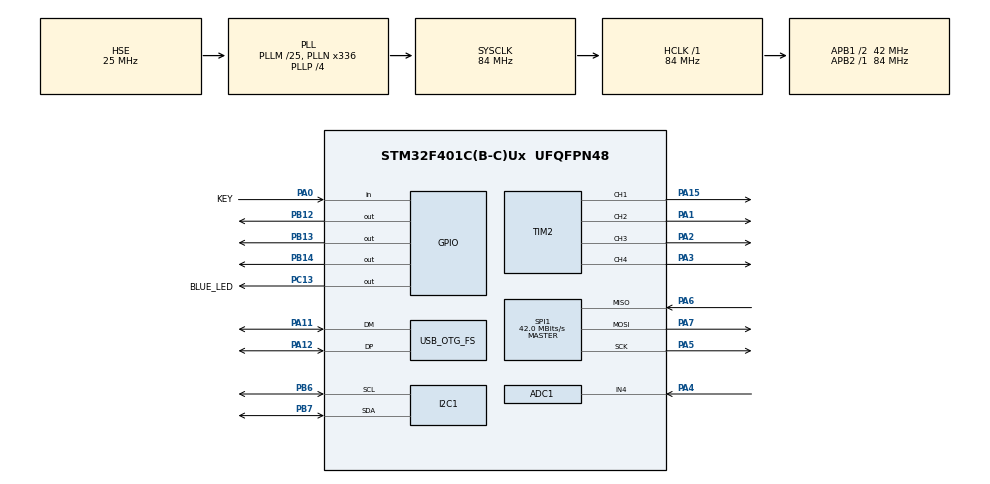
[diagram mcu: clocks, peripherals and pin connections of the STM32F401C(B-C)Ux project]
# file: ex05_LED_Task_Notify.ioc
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ADC1.Channel-2\#ChannelRegularConversion=ADC_CHANNEL_4
ADC1.NbrOfConversionFlag=1
ADC1.Rank-2\#ChannelRegularConversion=1
ADC1.SamplingTime-2\#ChannelRegularConversion=ADC_SAMPLETIME_3CYCLES
ADC1.master=1
Mcu.Family=STM32F4
Mcu.Name=STM32F401C(B-C)Ux
Mcu.Package=UFQFPN48
NVIC.OTG_FS_IRQn=true\:0\:0\:true\:false\:true\:false\:true\:true
NVIC.PriorityGroup=NVIC_PRIORITYGROUP_4
NVIC.TIM1_UP_TIM10_IRQn=true\:15\:0\:false\:false\:true\:false\:true\:true
NVIC.TimeBase=TIM1_UP_TIM10_IRQn
NVIC.TimeBaseIP=TIM1
PA0-WKUP.GPIO_Label=KEY
PA0-WKUP.GPIO_PuPd=GPIO_PULLUP
PA0-WKUP.Signal=GPIO_Input
PA1.Signal=S_TIM2_CH2
PA11.Mode=Device_Only
PA11.Signal=USB_OTG_FS_DM
PA12.Mode=Device_Only
PA12.Signal=USB_OTG_FS_DP
PA13.Mode=Trace_Asynchronous_SW
PA13.Signal=SYS_JTMS-SWDIO
PA14.Mode=Trace_Asynchronous_SW
PA14.Signal=SYS_JTCK-SWCLK
PA15.Signal=S_TIM2_CH1_ETR
PA2.Signal=S_TIM2_CH3
PA3.Signal=S_TIM2_CH4
PA4.Signal=ADCx_IN4
PA5.Mode=Full_Duplex_Master
PA5.Signal=SPI1_SCK
PA6.Mode=Full_Duplex_Master
PA6.Signal=SPI1_MISO
PA7.Mode=Full_Duplex_Master
PA7.Signal=SPI1_MOSI
PB12.PinState=GPIO_PIN_SET
PB12.Signal=GPIO_Output
PB13.PinState=GPIO_PIN_SET
PB13.Signal=GPIO_Output
PB14.PinState=GPIO_PIN_SET
PB14.Signal=GPIO_Output
PB3.Mode=Trace_Asynchronous_SW
PB3.Signal=SYS_JTDO-SWO
PB6.Mode=I2C
PB6.Signal=I2C1_SCL
PB7.Mode=I2C
PB7.Signal=I2C1_SDA
PC13-ANTI_TAMP.GPIO_Label=BLUE_LED
PC13-ANTI_TAMP.PinState=GPIO_PIN_SET
PC13-ANTI_TAMP.Signal=GPIO_Output
PC14-OSC32_IN.Mode=LSE-External-Oscillator
PC14-OSC32_IN.Signal=RCC_OSC32_IN
PC15-OSC32_OUT.Mode=LSE-External-Oscillator
PC15-OSC32_OUT.Signal=RCC_OSC32_OUT
PH0\ -\ OSC_IN.Mode=HSE-External-Oscillator
PH0\ -\ OSC_IN.Signal=RCC_OSC_IN
PH1\ -\ OSC_OUT.Mode=HSE-External-Oscillator
PH1\ -\ OSC_OUT.Signal=RCC_OSC_OUT
ProjectManager.HeapSize=0x200
ProjectManager.StackSize=0x400
ProjectManager.TargetToolchain=STM32CubeIDE
RCC.48MHZClocksFreq_Value=48000000
RCC.AHBFreq_Value=84000000
RCC.APB1CLKDivider=RCC_HCLK_DIV2
RCC.APB1Freq_Value=42000000
RCC.APB1TimFreq_Value=84000000
RCC.APB2Freq_Value=84000000
RCC.APB2TimFreq_Value=84000000
RCC.CortexFreq_Value=84000000
RCC.HCLKFreq_Value=84000000
RCC.HSE_VALUE=25000000
RCC.HSI_VALUE=16000000
RCC.PLLM=25
RCC.PLLN=336
RCC.PLLP=RCC_PLLP_DIV4
RCC.PLLQ=7
RCC.SYSCLKFreq_VALUE=84000000
RCC.SYSCLKSource=RCC_SYSCLKSOURCE_PLLCLK
RCC.VCOOutputFreq_Value=336000000
SH.ADCx_IN4.0=ADC1_IN4,IN4
SH.S_TIM2_CH1_ETR.0=TIM2_CH1,PWM Generation1 CH1
SH.S_TIM2_CH2.0=TIM2_CH2,PWM Generation2 CH2
SH.S_TIM2_CH3.0=TIM2_CH3,PWM Generation3 CH3
SH.S_TIM2_CH4.0=TIM2_CH4,PWM Generation4 CH4
SPI1.BaudRatePrescaler=SPI_BAUDRATEPRESCALER_2
SPI1.CalculateBaudRate=42.0 MBits/s
SPI1.Direction=SPI_DIRECTION_2LINES
SPI1.Mode=SPI_MODE_MASTER
SPI1.VirtualType=VM_MASTER
TIM2.Channel-PWM\ Generation1\ CH1=TIM_CHANNEL_1
TIM2.Channel-PWM\ Generation2\ CH2=TIM_CHANNEL_2
TIM2.Channel-PWM\ Generation3\ CH3=TIM_CHANNEL_3
TIM2.Channel-PWM\ Generation4\ CH4=TIM_CHANNEL_4
USB_DEVICE.CLASS_NAME_FS=CDC
USB_DEVICE.VirtualMode=Cdc
USB_DEVICE.VirtualModeFS=Cdc_FS
USB_OTG_FS.VirtualMode=Device_Only
VP_SYS_VS_tim1.Mode=TIM1
VP_USB_DEVICE_VS_USB_DEVICE_CDC_FS.Mode=CDC_FS
board=custom

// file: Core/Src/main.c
/* USER CODE BEGIN Header */
/**
  ******************************************************************************
  * @file           : main.c
  * @brief          : Main program body
  ******************************************************************************
  * @attention
  *
  * Copyright (c) 2022 STMicroelectronics.
  * All rights reserved.
  *
  * This software is licensed under terms that can be found in the LICENSE file
  * in the root directory of this software component.
  * If no LICENSE file comes with this software, it is provided AS-IS.
  *
  ******************************************************************************
  */
/* USER CODE END Header */
#include "main.h"
#include "adc.h"
#include "i2c.h"
#include "spi.h"
#include "tim.h"
#include "usb_device.h"
#include "gpio.h"

/* USER CODE BEGIN Includes */
#include "dwt_delay.h"
#include "FreeRTOS.h"
#include "task.h"
/* USER CODE END Includes */

/* USER CODE BEGIN PV */
TaskHandle_t led1_task_handle;
TaskHandle_t led2_task_handle;
TaskHandle_t led3_task_handle;
TaskHandle_t btn_task_handle;
TaskHandle_t volatile next_task_handle;
/* USER CODE END PV */

void SystemClock_Config(void);
/* USER CODE BEGIN PFP */
static void led1_handler(void *parameters);
static void led2_handler(void *parameters);
static void led3_handler(void *parameters);
static void button_handler(void *parameters);
/* USER CODE END PFP */

int main(void)
{
  /* USER CODE BEGIN 1 */
  BaseType_t status;
  /* USER CODE END 1 */

  /* MCU Configuration--------------------------------------------------------*/

  /* Reset of all peripherals, Initializes the Flash interface and the Systick. */
  HAL_Init();

  /* Configure the system clock */
  SystemClock_Config();

  /* Initialize all configured peripherals */
  MX_GPIO_Init();
  MX_ADC1_Init();
  MX_I2C1_Init();
  MX_SPI1_Init();
  MX_TIM2_Init();
  MX_USB_DEVICE_Init();
  /* USER CODE BEGIN 2 */
  SEGGER_UART_init(500000);
  DWT_Init();
  SEGGER_SYSVIEW_Conf();

  status = xTaskCreate(led1_handler, "LED1_task", 200, NULL, 3, &led1_task_handle);
  configASSERT(status == pdPASS);

  status = xTaskCreate(led2_handler, "LED2_task", 200, NULL, 2, &led2_task_handle);
  configASSERT(status == pdPASS);

  status = xTaskCreate(led3_handler, "LED3_task", 200, NULL, 1, &led3_task_handle);
  configASSERT(status == pdPASS);

  status = xTaskCreate(button_handler, "button_task", 200, NULL, 4, &btn_task_handle);
  configASSERT(status == pdPASS);

  next_task_handle = led1_task_handle;

  vTaskStartScheduler();
  /* USER CODE END 2 */

  /* Infinite loop */
  while (1)
  {

  }
}

void SystemClock_Config(void)
{
  RCC_OscInitTypeDef RCC_OscInitStruct = {0};
  RCC_ClkInitTypeDef RCC_ClkInitStruct = {0};

  /** Configure the main internal regulator output voltage
  */
  __HAL_RCC_PWR_CLK_ENABLE();
  __HAL_PWR_VOLTAGESCALING_CONFIG(PWR_REGULATOR_VOLTAGE_SCALE2);

  /** Initializes the RCC Oscillators according to the specified parameters
  * in the RCC_OscInitTypeDef structure.
  */
  RCC_OscInitStruct.OscillatorType = RCC_OSCILLATORTYPE_HSE;
  RCC_OscInitStruct.HSEState = RCC_HSE_ON;
  RCC_OscInitStruct.PLL.PLLState = RCC_PLL_ON;
  RCC_OscInitStruct.PLL.PLLSource = RCC_PLLSOURCE_HSE;
  RCC_OscInitStruct.PLL.PLLM = 25;
  RCC_OscInitStruct.PLL.PLLN = 336;
  RCC_OscInitStruct.PLL.PLLP = RCC_PLLP_DIV4;
  RCC_OscInitStruct.PLL.PLLQ = 7;
  if (HAL_RCC_OscConfig(&RCC_OscInitStruct) != HAL_OK)
  {
    Error_Handler();
  }

  /** Initializes the CPU, AHB and APB buses clocks
  */
  RCC_ClkInitStruct.ClockType = RCC_CLOCKTYPE_HCLK|RCC_CLOCKTYPE_SYSCLK
                              |RCC_CLOCKTYPE_PCLK1|RCC_CLOCKTYPE_PCLK2;
  RCC_ClkInitStruct.SYSCLKSource = RCC_SYSCLKSOURCE_PLLCLK;
  RCC_ClkInitStruct.AHBCLKDivider = RCC_SYSCLK_DIV1;
  RCC_ClkInitStruct.APB1CLKDivider = RCC_HCLK_DIV2;
  RCC_ClkInitStruct.APB2CLKDivider = RCC_HCLK_DIV1;

  if (HAL_RCC_ClockConfig(&RCC_ClkInitStruct, FLASH_LATENCY_2) != HAL_OK)
  {
    Error_Handler();
  }
}

/* USER CODE BEGIN 4 */
static void led1_handler(void *parameters)
{
	BaseType_t status;

	while(1) {
		SEGGER_SYSVIEW_PrintfTarget("Toggling LED1");
		HAL_GPIO_TogglePin(GPIOB, GPIO_PIN_12);
		status = xTaskNotifyWait(0, 0, NULL, pdMS_TO_TICKS(1000));
		if (status == pdTRUE) {
			vTaskSuspendAll(); // Prevent context switch
			next_task_handle = led2_task_handle;
			xTaskResumeAll();
			HAL_GPIO_WritePin(GPIOB, GPIO_PIN_12, GPIO_PIN_SET);
			SEGGER_SYSVIEW_PrintfTarget("Delete LED1 task");
			vTaskDelete(NULL); // Self delete
		}
	}
}

static void led2_handler(void *parameters)
{
	BaseType_t status;

	while(1) {
		SEGGER_SYSVIEW_PrintfTarget("Toggling LED2");
		HAL_GPIO_TogglePin(GPIOB, GPIO_PIN_13);
		status = xTaskNotifyWait(0, 0, NULL, pdMS_TO_TICKS(800));
		if (status == pdTRUE) {
			vTaskSuspendAll(); // Prevent context switch
			next_task_handle = led3_task_handle;
			xTaskResumeAll();
			HAL_GPIO_WritePin(GPIOB, GPIO_PIN_13, GPIO_PIN_SET);
			SEGGER_SYSVIEW_PrintfTarget("Delete LED2 task");
			vTaskDelete(NULL); // Self delete
		}
	}
}

static void led3_handler(void *parameters)
{
	BaseType_t status;

	while(1) {
		SEGGER_SYSVIEW_PrintfTarget("Toggling LED3");
		HAL_GPIO_TogglePin(GPIOB, GPIO_PIN_14);
		status = xTaskNotifyWait(0, 0, NULL, pdMS_TO_TICKS(400));
		if (status == pdTRUE) {
			vTaskSuspendAll(); // Prevent context switch
			next_task_handle = NULL;
			xTaskResumeAll();
			HAL_GPIO_WritePin(GPIOB, GPIO_PIN_14, GPIO_PIN_SET);
			SEGGER_SYSVIEW_PrintfTarget("Delete LED3 task");
			vTaskDelete(btn_task_handle);
			vTaskDelete(NULL); // Self delete
		}
	}
}

static void button_handler(void *parameters)
{
	uint8_t btn_read = 1;
	uint8_t prev_read  = 1;

	while (1) {
		btn_read = HAL_GPIO_ReadPin(GPIOA, GPIO_PIN_0);

		if (!btn_read) {
			if (prev_read)
				xTaskNotify(next_task_handle, 0, eNoAction);
		}

		prev_read = btn_read;
		vTaskDelay(pdMS_TO_TICKS(10));
	}
}
/* USER CODE END 4 */

void HAL_TIM_PeriodElapsedCallback(TIM_HandleTypeDef *htim)
{
  if (htim->Instance == TIM1) {
    HAL_IncTick();
  }
}

void Error_Handler(void)
{
  __disable_irq();
  while (1)
  {
  }
}
